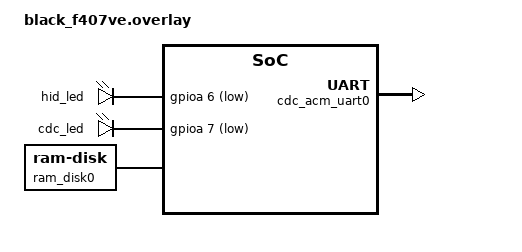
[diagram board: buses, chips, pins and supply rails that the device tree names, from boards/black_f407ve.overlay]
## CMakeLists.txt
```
# SPDX-License-Identifier: Apache-2.0

cmake_minimum_required(VERSION 3.20.0)
find_package(Zephyr REQUIRED HINTS $ENV{ZEPHYR_BASE})
project(daplink)

include(${ZEPHYR_BASE}/samples/subsys/usb/common/common.cmake)

FILE(GLOB app_sources src/*.c src/flash_algo/*.c)
target_include_directories(app PRIVATE src/flash_algo src)

# Flash algorithm vendor files (conditionally compiled via Kconfig)
if(CONFIG_DAPLINK_FLASH_ALGO_STM32)
  list(APPEND app_sources ${CMAKE_CURRENT_SOURCE_DIR}/src/flash_algo/vendor_stm32.c)
endif()
if(CONFIG_DAPLINK_FLASH_ALGO_FREESCALE)
  list(APPEND app_sources ${CMAKE_CURRENT_SOURCE_DIR}/src/flash_algo/vendor_freescale.c)
endif()
if(CONFIG_DAPLINK_FLASH_ALGO_NXP)
  list(APPEND app_sources ${CMAKE_CURRENT_SOURCE_DIR}/src/flash_algo/vendor_nxp.c)
endif()
if(CONFIG_DAPLINK_FLASH_ALGO_MAXIM)
  list(APPEND app_sources ${CMAKE_CURRENT_SOURCE_DIR}/src/flash_algo/vendor_maxim.c)
endif()
if(CONFIG_DAPLINK_FLASH_ALGO_NUVOTON)
  list(APPEND app_sources ${CMAKE_CURRENT_SOURCE_DIR}/src/flash_algo/vendor_nuvoton.c)
endif()
if(CONFIG_DAPLINK_FLASH_ALGO_NORDIC)
  list(APPEND app_sources ${CMAKE_CURRENT_SOURCE_DIR}/src/flash_algo/vendor_nordic.c)
endif()
if(CONFIG_DAPLINK_FLASH_ALGO_ARM)
  list(APPEND app_sources ${CMAKE_CURRENT_SOURCE_DIR}/src/flash_algo/vendor_arm.c)
endif()
if(CONFIG_DAPLINK_FLASH_ALGO_REALTEK)
  list(APPEND app_sources ${CMAKE_CURRENT_SOURCE_DIR}/src/flash_algo/vendor_realtek.c)
endif()
if(CONFIG_DAPLINK_FLASH_ALGO_AMBIQ)
  list(APPEND app_sources ${CMAKE_CURRENT_SOURCE_DIR}/src/flash_algo/vendor_ambiq.c)
endif()

# Remove BULK v2 class for low-RAM boards
if(CONFIG_SOC_STM32F103X8)
  list(REMOVE_ITEM app_sources ${CMAKE_CURRENT_SOURCE_DIR}/src/usbd_dap_v2.c)
  list(REMOVE_ITEM app_sources ${CMAKE_CURRENT_SOURCE_DIR}/src/msc_lun.c)
  list(REMOVE_ITEM app_sources ${CMAKE_CURRENT_SOURCE_DIR}/src/msc_daplink.c)
  list(REMOVE_ITEM app_sources ${CMAKE_CURRENT_SOURCE_DIR}/src/flash_prog.c)
  list(REMOVE_ITEM app_sources ${CMAKE_CURRENT_SOURCE_DIR}/src/intelhex.c)
endif()

target_sources(app PRIVATE ${app_sources})
```

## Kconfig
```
source "samples/subsys/usb/common/Kconfig.sample_usbd"

source "Kconfig.zephyr"

config DAPLINK_PACKET_SIZE
	int "CMSIS-DAP packet size"
	default 64
	range 64 32768

config DAPLINK_PACKET_COUNT
	int "CMSIS-DAP packet count"
	default 4
	range 1 255

config DAPLINK_SWD
	bool "SWD support"
	default y

config DAPLINK_JTAG
	bool "JTAG support"
	default y

config DAPLINK_SWO_UART
	bool "SWO UART support"
	default n

config DAPLINK_SWO_MANCHESTER
	bool "SWO Manchester support"
	default n

config DAPLINK_TIMESTAMP_CLOCK
	int "Timestamp clock frequency (Hz)"
	default 0

config DAPLINK_UART_RX_BUF_SIZE
	int "UART RX buffer size"
	default 1024

config DAPLINK_UART_TX_BUF_SIZE
	int "UART TX buffer size"
	default 1024

menuconfig DAPLINK_FLASH_ALGO
	bool "Flash algorithm targets"
	default y if !SOC_STM32F103X8
	help
	  Select target flash algorithms to include.

if DAPLINK_FLASH_ALGO

config DAPLINK_FLASH_ALGO_STM32
	bool "STM32 targets"
	default y
	help
	  Include flash algorithms for STM32 targets (F0/F1/F2/F3/F4/F7/L0/L4).

config DAPLINK_FLASH_ALGO_FREESCALE
	bool "Freescale/NXP Kinetis targets"
	default y
	help
	  Include flash algorithms for Kinetis K/L/KW/KE/KV series.

config DAPLINK_FLASH_ALGO_NXP
	bool "NXP LPC/i.MX targets"
	default y
	help
	  Include flash algorithms for LPC11U/LPC43/LPC55/i.MX RT series.

config DAPLINK_FLASH_ALGO_MAXIM
	bool "Maxim targets"
	default y
	help
	  Include flash algorithms for MAX32/MAX78 series.

config DAPLINK_FLASH_ALGO_NUVOTON
	bool "Nuvoton targets"
	default y
	help
	  Include flash algorithms for NuMicro M48/M2 series.

config DAPLINK_FLASH_ALGO_NORDIC
	bool "Nordic targets"
	default y
	help
	  Include flash algorithms for nRF51/nRF52 series.

config DAPLINK_FLASH_ALGO_RENESAS
	bool "Renesas targets"
	default y
	help
	  Include flash algorithms for RA series.

config DAPLINK_FLASH_ALGO_ARM
	bool "ARM reference targets"
	default y
	help
	  Include flash algorithms for ARM Musca reference designs.

config DAPLINK_FLASH_ALGO_REALTEK
	bool "Realtek targets"
	default y

config DAPLINK_FLASH_ALGO_AMBIQ
	bool "Ambiq targets"
	default y

endif
```

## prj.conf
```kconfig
# USB Device Stack
CONFIG_USB_DEVICE_STACK_NEXT=y

# USB HID class for CMSIS-DAP v1
CONFIG_USBD_HID_SUPPORT=y
CONFIG_USBD_HID_IN_BUF_COUNT=4
CONFIG_USBD_HID_OUT_BUF_COUNT=4

# USB CDC ACM for virtual COM port
CONFIG_USBD_CDC_ACM_CLASS=y

# USB MSC for drag-n-drop flashing
CONFIG_USBD_MSC_CLASS=y
CONFIG_USBD_MSC_LUNS_PER_INSTANCE=1
CONFIG_USBD_MSC_SCSI_BUFFER_SIZE=512
CONFIG_USBD_MSC_DOUBLE_BUFFERING=y
CONFIG_USBD_MSC_INSTANCES_COUNT=1

# RAM disk for MSC backend
CONFIG_DISK_DRIVER_RAM=y
CONFIG_CDC_ACM_SERIAL_INITIALIZE_AT_BOOT=n

# UART for target communication
CONFIG_SERIAL=y
CONFIG_UART_LINE_CTRL=y
CONFIG_UART_USE_RUNTIME_CONFIGURE=y

# UART bridge driver (CDC ACM <-> target UART)
CONFIG_UART_BRIDGE=y
CONFIG_UART_BRIDGE_BUF_SIZE=256

# GPIO for SWJ debug pins and LEDs
CONFIG_GPIO=y

# Kernel
CONFIG_MAIN_STACK_SIZE=4096
CONFIG_SYSTEM_WORKQUEUE_STACK_SIZE=2048

# Logging
CONFIG_LOG=y
CONFIG_LOG_DEFAULT_LEVEL=3
CONFIG_USBD_LOG_LEVEL_ERR=y
CONFIG_UDC_DRIVER_LOG_LEVEL_ERR=y
CONFIG_USBD_HID_LOG_LEVEL_WRN=y
CONFIG_USBD_CDC_ACM_LOG_LEVEL_OFF=y

# USB identification (via sample_usbd)
CONFIG_SAMPLE_USBD_VID=0x0D28
CONFIG_SAMPLE_USBD_PID=0x0204
CONFIG_SAMPLE_USBD_MANUFACTURER="ARM"
CONFIG_SAMPLE_USBD_PRODUCT="CMSIS-DAP v1/v2"
CONFIG_SAMPLE_USBD_SELF_POWERED=y
CONFIG_SAMPLE_USBD_MAX_POWER=125

# Libraries
CONFIG_HEAP_MEM_POOL_SIZE=4096
CONFIG_PRINTK=y
```

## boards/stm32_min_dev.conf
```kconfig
# stm32_min_dev (STM32F103C8) — 64KB flash, 20KB RAM
# Minimal DAPLink: CMSIS-DAP v1 (HID) + CDC ACM only
# No MSC, no BULK v2, no drag-n-drop flash

CONFIG_LOG=y

CONFIG_MAIN_STACK_SIZE=1536
CONFIG_SYSTEM_WORKQUEUE_STACK_SIZE=1024

CONFIG_USBD_MSC_CLASS=n
CONFIG_DISK_DRIVER_RAM=n

CONFIG_I2C=n
CONFIG_SPI=n
CONFIG_PWM=n
CONFIG_COUNTER=n
CONFIG_ADC=n
CONFIG_CAN=n
CONFIG_WATCHDOG=n
CONFIG_HWINFO=n

CONFIG_HEAP_MEM_POOL_SIZE=0

CONFIG_USBD_HID_IN_BUF_COUNT=1
CONFIG_USBD_HID_OUT_BUF_COUNT=1
CONFIG_DAPLINK_PACKET_COUNT=2

CONFIG_USBD_LOG_LEVEL_OFF=y
CONFIG_UDC_DRIVER_LOG_LEVEL_OFF=y
CONFIG_USBD_HID_LOG_LEVEL_OFF=y
CONFIG_USBD_CDC_ACM_LOG_LEVEL_OFF=y
```

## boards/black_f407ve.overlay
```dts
&zephyr_udc0 {
	hid_dev0: hid_dev0 {
		compatible = "zephyr,hid-device";
		in-report-size = <64>;
		in-polling-period-us = <1000>;
		out-report-size = <64>;
		out-polling-period-us = <1000>;
	};

	cdc_acm_uart0: cdc_acm_uart0 {
		compatible = "zephyr,cdc-acm-uart";
	};
};

/ {
	aliases {
		swclk = &swclk_pin;
		swdio = &swdio_pin;
		nrst = &nrst_pin;
		hid-led = &hid_led;
		cdc-led = &cdc_led;
	};

	swj_pins: swj_pins {
		swclk_pin: swclk_pin {
			gpios = <&gpiob 13 GPIO_ACTIVE_HIGH>;
		};
		swdio_pin: swdio_pin {
			gpios = <&gpiob 14 GPIO_ACTIVE_HIGH>;
		};
		nrst_pin: nrst_pin {
			gpios = <&gpiob 12 GPIO_ACTIVE_HIGH>;
		};
	};

	leds {
		compatible = "gpio-leds";
		hid_led: hid_led {
			gpios = <&gpioa 6 GPIO_ACTIVE_LOW>;
		};
		cdc_led: cdc_led {
			gpios = <&gpioa 7 GPIO_ACTIVE_LOW>;
		};
	};

	uart-bridge0 {
		compatible = "zephyr,uart-bridge";
		peers = <&cdc_acm_uart0 &usart2>;
	};

	ram_disk0: ram_disk0 {
		compatible = "zephyr,ram-disk";
		disk-name = "DAPLINK";
		sector-size = <512>;
		sector-count = <64>;
	};
};
```

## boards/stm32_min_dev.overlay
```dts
&zephyr_udc0 {
	hid_dev0: hid_dev0 {
		compatible = "zephyr,hid-device";
		in-report-size = <64>;
		in-polling-period-us = <1000>;
		out-report-size = <64>;
		out-polling-period-us = <1000>;
	};

	cdc_acm_uart0: cdc_acm_uart0 {
		compatible = "zephyr,cdc-acm-uart";
	};
};

/ {
	aliases {
		swclk = &swclk_pin;
		swdio = &swdio_pin;
		nrst = &nrst_pin;
		hid-led = &hid_led;
	};

	swj_pins: swj_pins {
		swclk_pin: swclk_pin {
			gpios = <&gpiob 0 GPIO_ACTIVE_HIGH>;
		};
		swdio_pin: swdio_pin {
			gpios = <&gpiob 1 GPIO_ACTIVE_HIGH>;
		};
		nrst_pin: nrst_pin {
			gpios = <&gpiob 2 GPIO_ACTIVE_HIGH>;
		};
	};

	uart-bridge0 {
		compatible = "zephyr,uart-bridge";
		peers = <&cdc_acm_uart0 &usart2>;
	};

	leds {
		compatible = "gpio-leds";
		hid_led: hid_led {
			gpios = <&gpiob 12 GPIO_ACTIVE_HIGH>;
		};
	};

};
```

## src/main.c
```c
#include <zephyr/kernel.h>
#include <zephyr/device.h>
#include <zephyr/drivers/gpio.h>
#include <zephyr/drivers/uart/uart_bridge.h>
#include <zephyr/usb/usbd.h>
#include <zephyr/usb/class/usbd_hid.h>
#include <zephyr/logging/log.h>
#include <sample_usbd.h>
#include "DAP.h"
#include "IO_Config.h"
#include "usbd_user.h"

LOG_MODULE_REGISTER(daplink, LOG_LEVEL_INF);

static struct usbd_context *sample_usbd;

#define HID_LED_NODE DT_ALIAS(hid_led)
#define CDC_LED_NODE DT_ALIAS(cdc_led)

#define DEVICE_DT_GET_COMMA(node_id) DEVICE_DT_GET(node_id)

static const struct device *uart_bridges[] = {
	DT_FOREACH_STATUS_OKAY(zephyr_uart_bridge, DEVICE_DT_GET_COMMA)
};

#if DT_NODE_EXISTS(HID_LED_NODE)
static const struct gpio_dt_spec hid_led = GPIO_DT_SPEC_GET(HID_LED_NODE, gpios);
#endif
#if defined(CDC_LED_NODE) && DT_NODE_EXISTS(CDC_LED_NODE)
static const struct gpio_dt_spec cdc_led = GPIO_DT_SPEC_GET(CDC_LED_NODE, gpios);
#endif

static volatile bool hid_activity;
static volatile bool cdc_activity;
static int64_t activity_tick;

enum usb_state {
    USB_DISCONNECTED,
    USB_CONNECTED,
};
static enum usb_state usb_state = USB_DISCONNECTED;

static struct k_timer daplink_timer;
static struct k_sem daplink_sem;

void main_blink_hid_led(void)
{
    hid_activity = true;
    activity_tick = k_uptime_get();
}

#if defined(CDC_LED_NODE) && DT_NODE_EXISTS(CDC_LED_NODE)
__attribute__((weak)) void main_blink_cdc_led(void)
{
    cdc_activity = true;
    activity_tick = k_uptime_get();
}
#endif

static void led_write(const struct gpio_dt_spec *led, bool on)
{
    if (led->port) gpio_pin_set_dt(led, on);
}

static void handle_leds(void)
{
    int64_t now = k_uptime_get();
    if (hid_activity && (now - activity_tick) > 250) {
        hid_activity = false;
    }
#if defined(CDC_LED_NODE) && DT_NODE_EXISTS(CDC_LED_NODE)
    if (cdc_activity && (now - activity_tick) > 250) {
        cdc_activity = false;
    }
    led_write(&cdc_led, cdc_activity);
#endif
    led_write(&hid_led, hid_activity);
}

__attribute__((weak)) void flash_prog_periodic(void) {}

static void timer_cb(struct k_timer *timer)
{
    k_sem_give(&daplink_sem);
}

static void msg_cb(struct usbd_context *const ctx, const struct usbd_msg *msg)
{
    if (usbd_can_detect_vbus(ctx)) {
        if (msg->type == USBD_MSG_VBUS_READY) {
            usbd_enable(ctx);
            usb_state = USB_CONNECTED;
        }
        if (msg->type == USBD_MSG_VBUS_REMOVED) {
            usbd_disable(ctx);
            usb_state = USB_DISCONNECTED;
        }
    }
    if (msg->type == USBD_MSG_CDC_ACM_LINE_CODING ||
        msg->type == USBD_MSG_CDC_ACM_CONTROL_LINE_STATE) {
        for (size_t i = 0; i < ARRAY_SIZE(uart_bridges); i++) {
            uart_bridge_settings_update(msg->dev, uart_bridges[i]);
        }
    }
}

static int enable_usb_device(void)
{
    sample_usbd = sample_usbd_init_device(msg_cb);
    if (sample_usbd == NULL) return -ENODEV;

    if (!usbd_can_detect_vbus(sample_usbd)) {
        int err = usbd_enable(sample_usbd);
        if (err) return err;
        usb_state = USB_CONNECTED;
    }
    return 0;
}

int main(void)
{
    LOG_INF("DAPLink CMSIS-DAP on Zephyr");

    swj_gpio_init();

    DAP_Setup();
    DAP_Data.debug_port = DAP_PORT_SWD;

#if DT_NODE_EXISTS(HID_LED_NODE)
    if (hid_led.port && device_is_ready(hid_led.port)) {
        gpio_pin_configure_dt(&hid_led, GPIO_OUTPUT_INACTIVE);
    }
#endif
#if DT_NODE_EXISTS(CDC_LED_NODE)
    if (cdc_led.port && device_is_ready(cdc_led.port)) {
        gpio_pin_configure_dt(&cdc_led, GPIO_OUTPUT_INACTIVE);
    }
#endif

    k_sem_init(&daplink_sem, 0, 1);
    k_timer_init(&daplink_timer, timer_cb, NULL);
    k_timer_start(&daplink_timer, K_MSEC(30), K_MSEC(30));

    int ret = enable_usb_device();
    if (ret) {
        LOG_ERR("USB failed: %d", ret);
        return 0;
    }

    ret = daplink_hid_init(sample_usbd);
    if (ret) LOG_ERR("HID failed: %d", ret);

    LOG_INF("DAPLink ready");

    uint32_t disk_check_tick = 0;

    while (1) {
        k_sem_take(&daplink_sem, K_FOREVER);
        handle_leds();

        uint32_t now = k_uptime_get_32();
        if (now - disk_check_tick > 2000) {
            disk_check_tick = now;
            flash_prog_periodic();
        }
    }
}
```

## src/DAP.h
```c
/*
 * Copyright (c) 2013-2021 ARM Limited. All rights reserved.
 * SPDX-License-Identifier: Apache-2.0
 *
 * CMSIS-DAP v2.1.0 Protocol Definitions
 * Adapted for Zephyr RTOS
 */

#ifndef __DAP_H__
#define __DAP_H__

#include <stdint.h>
#include <stdbool.h>

#ifdef __cplusplus
extern "C" {
#endif

/* DAP Firmware Version */
#ifdef  DAP_FW_V1
#define DAP_FW_VER                      "1.3.0"
#else
#define DAP_FW_VER                      "2.1.0"
#endif

/* DAP Command IDs */
#define ID_DAP_Info                     0x00U
#define ID_DAP_HostStatus               0x01U
#define ID_DAP_Connect                  0x02U
#define ID_DAP_Disconnect               0x03U
#define ID_DAP_TransferConfigure        0x04U
#define ID_DAP_Transfer                 0x05U
#define ID_DAP_TransferBlock            0x06U
#define ID_DAP_TransferAbort            0x07U
#define ID_DAP_WriteABORT               0x08U
#define ID_DAP_Delay                    0x09U
#define ID_DAP_ResetTarget              0x0AU
#define ID_DAP_SWJ_Pins                 0x10U
#define ID_DAP_SWJ_Clock                0x11U
#define ID_DAP_SWJ_Sequence             0x12U
#define ID_DAP_SWD_Configure            0x13U
#define ID_DAP_JTAG_Sequence            0x14U
#define ID_DAP_JTAG_Configure           0x15U
#define ID_DAP_JTAG_IDCODE              0x16U
#define ID_DAP_SWO_Transport            0x17U
#define ID_DAP_SWO_Mode                 0x18U
#define ID_DAP_SWO_Baudrate             0x19U
#define ID_DAP_SWO_Control              0x1AU
#define ID_DAP_SWO_Status               0x1BU
#define ID_DAP_SWO_Data                 0x1CU
#define ID_DAP_SWD_Sequence             0x1DU
#define ID_DAP_SWO_ExtendedStatus       0x1EU
#define ID_DAP_UART_Transport           0x1FU
#define ID_DAP_UART_Configure           0x20U
#define ID_DAP_UART_Control             0x22U
#define ID_DAP_UART_Status              0x21U

#define ID_DAP_Vendor0                  0x80U
#define ID_DAP_Vendor1                  0x81U
#define ID_DAP_Vendor2                  0x82U
#define ID_DAP_Vendor3                  0x83U
#define ID_DAP_Vendor4                  0x84U
#define ID_DAP_Vendor5                  0x85U
#define ID_DAP_Vendor6                  0x86U
#define ID_DAP_Vendor7                  0x87U
#define ID_DAP_Vendor8                  0x88U
#define ID_DAP_Vendor9                  0x89U
#define ID_DAP_Vendor10                 0x8AU
#define ID_DAP_Vendor11                 0x8BU
#define ID_DAP_Vendor12                 0x8CU
#define ID_DAP_Vendor13                 0x8DU
#define ID_DAP_Vendor14                 0x8EU
#define ID_DAP_Vendor15                 0x8FU
#define ID_DAP_Vendor16                 0x90U
#define ID_DAP_Vendor17                 0x91U
#define ID_DAP_Vendor18                 0x92U
#define ID_DAP_Vendor19                 0x93U
#define ID_DAP_Vendor20                 0x94U
#define ID_DAP_Vendor21                 0x95U
#define ID_DAP_Vendor22                 0x96U
#define ID_DAP_Vendor23                 0x97U
#define ID_DAP_Vendor24                 0x98U
#define ID_DAP_Vendor25                 0x99U
#define ID_DAP_Vendor26                 0x9AU
#define ID_DAP_Vendor27                 0x9BU
#define ID_DAP_Vendor28                 0x9CU
#define ID_DAP_Vendor29                 0x9DU
#define ID_DAP_Vendor30                 0x9EU
#define ID_DAP_Vendor31                 0x9FU

#define ID_DAP_VendorExFirst            0xA0U
#define ID_DAP_VendorExLast             0xFEU
#define ID_DAP_ExecuteCommands          0x7FU
#define ID_DAP_Invalid                  0xFFU

/* DAP Status Code */
#define DAP_OK                          0U
#define DAP_ERROR                       0xFFU

/* DAP ID */
#define DAP_ID_VENDOR                   1U
#define DAP_ID_PRODUCT                  2U
#define DAP_ID_SER_NUM                  3U
#define DAP_ID_DAP_FW_VER               4U
#define DAP_ID_DEVICE_VENDOR            5U
#define DAP_ID_DEVICE_NAME              6U
#define DAP_ID_BOARD_VENDOR             7U
#define DAP_ID_BOARD_NAME               8U
#define DAP_ID_PRODUCT_FW_VER           9U
#define DAP_ID_CAPABILITIES             0xF0U
#define DAP_ID_TIMESTAMP_CLOCK          0xF1U
#define DAP_ID_UART_RX_BUFFER_SIZE      0xFBU
#define DAP_ID_UART_TX_BUFFER_SIZE      0xFCU
#define DAP_ID_SWO_BUFFER_SIZE          0xFDU
#define DAP_ID_PACKET_COUNT             0xFEU
#define DAP_ID_PACKET_SIZE              0xFFU

/* DAP Host Status */
#define DAP_DEBUGGER_CONNECTED          0U
#define DAP_TARGET_RUNNING              1U

/* DAP Port */
#define DAP_PORT_AUTODETECT             0U
#define DAP_PORT_DISABLED               0U
#define DAP_PORT_SWD                    1U
#define DAP_PORT_JTAG                   2U

/* DAP SWJ */
#define DAP_SWJ_SWCLK_TCK               0U
#define DAP_SWJ_SWDIO_TMS               1U
#define DAP_SWJ_TDI                     2U
#define DAP_SWJ_TDO                     3U
#define DAP_SWJ_nTRST                   5U
#define DAP_SWJ_nRESET                  7U

/* DAP Transfer Request */
#define DAP_TRANSFER_APnDP              (1U<<0)
#define DAP_TRANSFER_RnW                (1U<<1)
#define DAP_TRANSFER_A2                 (1U<<2)
#define DAP_TRANSFER_A3                 (1U<<3)
#define DAP_TRANSFER_MATCH_VALUE        (1U<<4)
#define DAP_TRANSFER_MATCH_MASK         (1U<<5)
#define DAP_TRANSFER_TIMESTAMP          (1U<<7)

/* DAP Transfer Request (additional) */
#define DAP_TRANSFER_INVALID            0U

/* DAP Transfer Response */
#define DAP_TRANSFER_OK                 (1U<<0)
#define DAP_TRANSFER_WAIT               (1U<<1)
#define DAP_TRANSFER_FAULT              (1U<<2)
#define DAP_TRANSFER_ERROR              (1U<<3)
#define DAP_TRANSFER_MISMATCH           (1U<<4)

/* DAP SWO Trace */
#define DAP_SWO_OFF                     0U
#define DAP_SWO_UART                    1U
#define DAP_SWO_MANCHESTER              2U

#define DAP_SWO_CAPTURE_ACTIVE          (1U<<0)
#define DAP_SWO_CAPTURE_PAUSED          (1U<<1)
#define DAP_SWO_STREAM_ERROR            (1U<<6)
#define DAP_SWO_BUFFER_OVERRUN          (1U<<7)

/* DAP UART */
#define DAP_UART_TRANSPORT_NONE         0U
#define DAP_UART_TRANSPORT_USB_COM_PORT 1U
#define DAP_UART_TRANSPORT_DAP_COMMAND  2U

#define DAP_UART_CONTROL_RX_ENABLE      (1U<<0)
#define DAP_UART_CONTROL_RX_DISABLE     (1U<<1)
#define DAP_UART_CONTROL_RX_BUF_FLUSH   (1U<<2)
#define DAP_UART_CONTROL_TX_ENABLE      (1U<<4)
#define DAP_UART_CONTROL_TX_DISABLE     (1U<<5)
#define DAP_UART_CONTROL_TX_BUF_FLUSH   (1U<<6)

#define DAP_UART_STATUS_RX_ENABLED      (1U<<0)
#define DAP_UART_STATUS_RX_DATA_LOST    (1U<<1)
#define DAP_UART_STATUS_FRAMING_ERROR   (1U<<2)
#define DAP_UART_STATUS_PARITY_ERROR    (1U<<3)
#define DAP_UART_STATUS_TX_ENABLED      (1U<<4)

#define DAP_UART_CFG_ERROR_DATA_BITS    (1U<<0)
#define DAP_UART_CFG_ERROR_PARITY       (1U<<1)
#define DAP_UART_CFG_ERROR_STOP_BITS    (1U<<2)

#define DAP_UART_CONFIG_BAUD_RATE       0U
#define DAP_UART_CONFIG_LINE_CODING     1U
#define DAP_UART_CONFIG_LINE_STATE      2U

#define DAP_UART_CTRL_ENABLE            1U
#define DAP_UART_CTRL_CONNECT           2U

#define DAP_UART_STREAM_READY           1U
#define DAP_UART_RX_BUF_EMPTY           2U
#define DAP_UART_TX_BUF_EMPTY           4U

/* Debug Port Register Addresses */
#define DP_IDCODE                       0x00U
#define DP_ABORT                        0x00U
#define DP_CTRL_STAT                    0x04U
#define DP_WCR                          0x04U
#define DP_SELECT                       0x08U
#define DP_RESEND                       0x08U
#define DP_RDBUFF                       0x0CU

/* APCSR (AP Control and Status) */
#define AP_CSR                          0x00U
#define AP_TAR                          0x04U
#define AP_DRW                          0x0CU
#define AP_BD0                          0x10U
#define AP_BD1                          0x14U
#define AP_BD2                          0x18U
#define AP_BD3                          0x1CU
#define AP_CFG                          0xF4U
#define AP_BASE                         0xF8U
#define AP_IDR                          0xFCU

/* JTAG IR Codes */
#define JTAG_ABORT                      0x08U
#define JTAG_DPACC                      0x0AU
#define JTAG_APACC                      0x0BU
#define JTAG_IDCODE                     0x0EU
#define JTAG_BYPASS                     0x0FU

/* JTAG Sequence Info */
#define JTAG_SEQUENCE_TCK               0x3FU
#define JTAG_SEQUENCE_TMS               0x40U
#define JTAG_SEQUENCE_TDO               0x80U

/* SWD Sequence Info */
#define SWD_SEQUENCE_CLK                0x3FU
#define SWD_SEQUENCE_DIN                0x80U

/* DAP Data structure */
typedef struct {
    uint8_t     debug_port;             /* Debug Port */
    uint8_t     fast_clock;             /* Fast Clock Flag */
    uint8_t     padding[2];
    uint32_t    clock_delay;            /* Clock Delay */
    uint32_t    nominal_clock;          /* Nominal clock freq in Hz */
    uint32_t    timestamp;              /* Last captured Timestamp */
    struct {
        uint8_t   idle_cycles;          /* Idle cycles after transfer */
        uint8_t   padding[3];
        uint16_t  retry_count;          /* Retries after WAIT */
        uint16_t  match_retry;          /* Retries on value mismatch */
        uint32_t  match_mask;
    } transfer;
#if (DAP_SWD != 0)
    struct {
        uint8_t   turnaround;           /* Turnaround period */
        uint8_t   data_phase;           /* Always generate Data Phase */
    } swd_conf;
#endif
#if (DAP_JTAG != 0)
    struct {
        uint8_t   count;                /* Number of devices */
        uint8_t   index;                /* Device index */
#if (DAP_JTAG_DEV_CNT != 0)
        uint8_t   ir_length[DAP_JTAG_DEV_CNT];
        uint16_t  ir_before[DAP_JTAG_DEV_CNT];
        uint16_t  ir_after[DAP_JTAG_DEV_CNT];
#endif
    } jtag_dev;
#endif
} DAP_Data_t;

/* Global DAP Data */
extern DAP_Data_t DAP_Data;
extern volatile uint8_t DAP_TransferAbort;

/* DAP Functions */
void     DAP_Setup(void);
uint32_t DAP_ProcessCommand(const uint8_t *request, uint8_t *response);
uint32_t DAP_ExecuteCommand(const uint8_t *request, uint8_t *response);

/* SWJ Functions */
void     SWJ_Sequence(uint32_t count, const uint8_t *data);

/* SWD Functions */
void     SWD_Sequence(uint32_t info, const uint8_t *swdo, uint8_t *swdi);
uint8_t  SWD_Transfer(uint32_t request, uint32_t *data);
uint8_t  SWD_TransferCheck(uint32_t request, uint32_t *data);

/* JTAG Functions */
void     JTAG_Sequence(uint32_t info, const uint8_t *tdi, uint8_t *tdo);
uint8_t  JTAG_Transfer(uint32_t request, uint32_t *data);
uint8_t  JTAG_WriteIR(uint32_t request, uint32_t *data);
uint8_t  JTAG_IRScan(uint8_t dev_index, uint8_t *ir_data, uint8_t ir_length);

/* SWO Functions */
#if (SWO_UART != 0)
void     SWO_UART_Init(uint32_t baudrate);
void     SWO_UART_Uninit(void);
uint32_t SWO_UART_GetBaudrate(void);
void     SWO_UART_Control(uint32_t control);
#endif
#if (SWO_MANCHESTER != 0)
void     SWO_Manchester_Init(uint32_t baudrate);
void     SWO_Manchester_Uninit(void);
uint32_t SWO_Manchester_GetBaudrate(void);
void     SWO_Manchester_Control(uint32_t control);
#endif

/* DAP UART Functions */
void     DAP_UART_Init(void);
void     DAP_UART_Uninit(void);
uint8_t  DAP_UART_Connect(void);
uint8_t  DAP_UART_Disconnect(void);
uint8_t  DAP_UART_Transport(uint8_t transport);
uint8_t  DAP_UART_Configure(uint32_t baudrate);
uint8_t  DAP_UART_Control(uint8_t control);
uint8_t  DAP_UART_Status(void);
uint16_t DAP_UART_Read(uint8_t *buf);
uint16_t DAP_UART_Write(const uint8_t *buf);
uint8_t  DAP_UART_GetTransport(void);

/* DAP Vendor Functions */
uint32_t DAP_ProcessVendorCommand(const uint8_t *request, uint8_t *response);
uint32_t DAP_ProcessVendorCommandEx(const uint8_t *request, uint8_t *response);

/* DAP String Functions */
uint8_t  DAP_GetVendorString(char *str);
uint8_t  DAP_GetProductString(char *str);
uint8_t  DAP_GetSerNumString(char *str);
uint8_t  DAP_GetTargetDeviceVendorString(char *str);
uint8_t  DAP_GetTargetDeviceNameString(char *str);
uint8_t  DAP_GetBoardVendorString(char *str);
uint8_t  DAP_GetBoardNameString(char *str);
uint8_t  DAP_GetProductFirmwareVersionString(char *str);

/* DAP Queue Functions */
void     DAP_queue_init(void);
int      DAP_queue_send_buf(uint8_t *buf, int len);

#ifdef __cplusplus
}
#endif

#endif /* __DAP_H__ */
```

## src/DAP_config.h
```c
/**
 * @file    DAP_config.h
 * @brief   CMSIS-DAP Configuration File for Zephyr
 *
 * DAPLink Interface Firmware
 * Copyright (c) 2013-2021 ARM Limited. All rights reserved.
 * SPDX-License-Identifier: Apache-2.0
 *
 * Ported to Zephyr RTOS
 */

#ifndef __DAP_CONFIG_H__
#define __DAP_CONFIG_H__

#include <zephyr/kernel.h>
#include <zephyr/sys/__assert.h>
#include "IO_Config.h"

#ifdef __cplusplus
extern "C" {
#endif

/*==============================================================================
 *      Processor Clock
 *============================================================================*/
/** Specifies the CPU Clock in Hz for SWD/JTAG clock calculation.
 *  Uses Zephyr's SYS_CLOCK_HW_CYCLES_PER_SEC which is board-independent.
 */
#define CPU_CLOCK               CONFIG_SYS_CLOCK_HW_CYCLES_PER_SEC

/** Number of processor cycles for I/O Port write operations. */
#define IO_PORT_WRITE_CYCLES    2U

/*==============================================================================
 *      CMSIS-DAP Debug Unit Communication Packet Size
 *============================================================================*/
/** Maximum packet size for the debug unit. */
#ifndef DAP_PACKET_SIZE
#define DAP_PACKET_SIZE         64U
#endif

/** Maximum packet count for the debug unit. */
#ifndef DAP_PACKET_COUNT
#define DAP_PACKET_COUNT        4U
#endif

/*==============================================================================
 *      CMSIS-DAP Debug Unit Supported Ports
 *============================================================================*/
/** Support SWD mode. */
#ifndef DAP_SWD
#define DAP_SWD                 1
#endif

/** Support JTAG mode. */
#ifndef DAP_JTAG
#define DAP_JTAG                0
#endif

/** Number of JTAG devices in chain. */
#ifndef DAP_JTAG_DEV_CNT
#define DAP_JTAG_DEV_CNT        0
#endif

/** Support SWO UART mode. */
#ifndef SWO_UART
#define SWO_UART                0
#endif

/** Support SWO Manchester mode. */
#ifndef SWO_MANCHESTER
#define SWO_MANCHESTER          0
#endif

/** Activate timestamp clock. */
#ifndef TIMESTAMP_CLOCK
#define TIMESTAMP_CLOCK         0U
#endif

/*==============================================================================
 *      CMSIS-DAP Debug Unit Information
 *============================================================================*/
/** Vendor name. */
#define DAP_VENDOR_NAME          "ARM"

/** Product name. */
#define DAP_PRODUCT_NAME         "CMSIS-DAP v1/v2 (Zephyr)"

/** Serial number. */
#define DAP_SER_NUM              "123456"

/** Firmware version string. */
#ifdef DAP_FW_V1
#define DAP_FW_VER               "1.3.0"
#else
#define DAP_FW_VER               "2.1.0"
#endif

/** Target device vendor (optional). */
#define DAP_DEVICE_VENDOR        ""

/** Target device name (optional). */
#define DAP_DEVICE_NAME          ""

/** Board vendor (optional). */
#define DAP_BOARD_VENDOR         "Zephyr Project"

/** Board name (optional). */
#define DAP_BOARD_NAME           "DAPLink on Zephyr"

/*==============================================================================
 *      CMSIS-DAP Protocol Configuration
 *============================================================================*/
/** Number of SWD transfers that can be batched. */
#define DAP_TRANSFER_BUFFER_SIZE 1024U

/** Maximum number of SWD/JTAG retries. */
#define DAP_TRANSFER_RETRIES     100U

/** Default SWD/JTAG clock frequency in Hz. */
#define DAP_DEFAULT_SWJ_CLOCK    1000000U

/*==============================================================================
 *      Pin IO Macros (mapped to IO_Config.h functions)
 *============================================================================*/

/* SWCLK / TCK */
#define PIN_SWCLK_TCK_SET()             swclk_tck_set()
#define PIN_SWCLK_TCK_CLR()             swclk_tck_clr()
#define PIN_SWCLK_TCK_IN()              swclk_tck_in()

/* SWDIO / TMS */
#define PIN_SWDIO_TMS_SET()             swdio_tms_set()
#define PIN_SWDIO_TMS_CLR()             swdio_tms_clr()
#define PIN_SWDIO_TMS_IN()              swdio_tms_in()
#define PIN_SWDIO_OUT(bit)              swdio_tms_out(bit)
#define PIN_SWDIO_IN()                  swdio_tms_in()
#define PIN_SWDIO_OUT_ENABLE()          swdio_out_enable()
#define PIN_SWDIO_OUT_DISABLE()         swdio_out_disable()

/* TDI */
#define PIN_TDI_OUT(bit)                tdi_out(bit)
#define PIN_TDI_IN()                    tdi_in()

/* TDO */
#define PIN_TDO_IN()                    tdo_in()

/* nTRST */
#define PIN_nTRST_OUT(bit)              ntrst_out(bit)
#define PIN_nTRST_IN()                  ntrst_in()

/* nRESET */
#define PIN_nRESET_OUT(bit)             nreset_out(bit)
#define PIN_nRESET_IN()                 nreset_in()

/*==============================================================================
 *      SWO Pin Macros
 *============================================================================*/
#if (SWO_UART != 0)
#define SWO_UART_IN()                   swo_uart_in()
#define SWO_UART_OUT(bit)               swo_uart_out(bit)
#endif

#if (SWO_MANCHESTER != 0)
#define SWO_MANCHESTER_IN()             swo_manchester_in()
#define SWO_MANCHESTER_OUT(bit)         swo_manchester_out(bit)
#endif

/*==============================================================================
 *      Timing and Delay Macros
 *============================================================================*/

/* Number of CPU cycles for a I/O port write */
#if defined(IO_PORT_WRITE_CYCLES)
#define IO_PORT_WRITE_CYCLES_CORRECTED  IO_PORT_WRITE_CYCLES
#else
#define IO_PORT_WRITE_CYCLES_CORRECTED  2U
#endif

/* Calculate delay for a given SWJ clock frequency */
#define DAP_CLOCK_DELAY(clock_hz)       ((CPU_CLOCK / clock_hz) / (2U * IO_PORT_WRITE_CYCLES_CORRECTED))

/**
 * \brief Slow delay for SWJ pin IO.
 * \param delay_cycles Number of clock cycles to delay.
 */
#if defined(__GNUC__)
static inline void PIN_DELAY_SLOW(uint32_t delay_cycles) {
    if (delay_cycles == 0U) return;
    uint32_t cycles = (delay_cycles * IO_PORT_WRITE_CYCLES_CORRECTED) / 2U;
    if (cycles > 0U) {
        __asm__ volatile (
            "1: subs %0, %0, #1 \n"
            "   bne 1b \n"
            : "+r" (cycles)
            :
            : "cc"
        );
    }
}
#else
static inline void PIN_DELAY_SLOW(uint32_t delay_cycles) {
    volatile uint32_t d = delay_cycles;
    while (d--);
}
#endif

/** Fast delay for SWJ pin IO (single cycle). */
#define PIN_DELAY_FAST()                ((void)0)

/*==============================================================================
 *      Timestamp
 *============================================================================*/
#if (TIMESTAMP_CLOCK != 0U)
extern uint32_t timestamp_clk_freq;
#define TIMESTAMP_CLK_FREQ              timestamp_clk_freq

/* Get timestamp value */
extern uint32_t TIMESTAMP_GET(void);
#else
#define TIMESTAMP_CLK_FREQ              0U
#define TIMESTAMP_GET()                 0U
#endif

/*==============================================================================
 *      UART for CDC ACM bridge
 *============================================================================*/
/** UART receive buffer size */
#ifndef DAP_UART_RX_BUF_SIZE
#define DAP_UART_RX_BUF_SIZE            1024U
#endif

/** UART transmit buffer size */
#ifndef DAP_UART_TX_BUF_SIZE
#define DAP_UART_TX_BUF_SIZE            1024U
#endif

#ifdef __cplusplus
}
#endif

#endif /* __DAP_CONFIG_H__ */
```

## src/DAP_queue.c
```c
#include "DAP_queue.h"
#include "DAP_config.h"
#include <string.h>

#define DAP_QUEUE_ELEMENT_SIZE (DAP_PACKET_SIZE + 4)
#define DAP_QUEUE_ELEMENT_COUNT DAP_PACKET_COUNT

static uint8_t queue_buffer[DAP_QUEUE_ELEMENT_SIZE * DAP_QUEUE_ELEMENT_COUNT];
static uint8_t queue_element_len[DAP_QUEUE_ELEMENT_COUNT];
static int qhead, qtail;

void DAP_queue_init(void)
{
    qhead = 0;
    qtail = 0;
}

int DAP_queue_send_buf(uint8_t *buf, int len)
{
    int next = (qhead + 1) % DAP_QUEUE_ELEMENT_COUNT;
    if (next == qtail) {
        return 0;
    }
    memcpy(&queue_buffer[qhead * DAP_QUEUE_ELEMENT_SIZE], buf, len);
    queue_element_len[qhead] = len;
    qhead = next;
    return 1;
}

int DAP_queue_get_buf(uint8_t **buf, int *len)
{
    if (qhead == qtail) {
        return 0;
    }
    *buf = &queue_buffer[qtail * DAP_QUEUE_ELEMENT_SIZE];
    *len = queue_element_len[qtail];
    qtail = (qtail + 1) % DAP_QUEUE_ELEMENT_COUNT;
    return 1;
}
```

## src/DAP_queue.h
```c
#ifndef DAP_QUEUE_H
#define DAP_QUEUE_H

#include <stdint.h>

void DAP_queue_init(void);
int  DAP_queue_send_buf(uint8_t *buf, int len);
int  DAP_queue_get_buf(uint8_t **buf, int *len);

#endif
```

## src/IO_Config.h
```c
/**
 * @file    IO_Config.h
 * @brief   CMSIS-DAP GPIO Pin Configuration for Zephyr
 *
 * DAPLink Interface Firmware
 * Copyright (c) 2009-2016, ARM Limited, All Rights Reserved
 * SPDX-License-Identifier: Apache-2.0
 *
 * Ported to Zephyr RTOS
 */

#ifndef __IO_CONFIG_H__
#define __IO_CONFIG_H__

#include <zephyr/kernel.h>
#include <zephyr/device.h>
#include <zephyr/drivers/gpio.h>
#include <stdint.h>

#ifdef __cplusplus
extern "C" {
#endif

/*==============================================================================
 * SWJ Debug Port Pin Mapping
 *
 * These must be configured for your specific board.
 * Either define them here or via devicetree.
 *============================================================================*/

/* Default pin configuration - override for your board */
/* Format: PORT, PIN */
#ifndef SWCLK_TCK_SPEC
#define SWCLK_TCK_SPEC  GPIO_DT_SPEC_GET(DT_ALIAS(swclk), gpios)
#endif

#ifndef SWDIO_TMS_SPEC
#define SWDIO_TMS_SPEC  GPIO_DT_SPEC_GET(DT_ALIAS(swdio), gpios)
#endif

#ifndef NRST_SPEC
#define NRST_SPEC       GPIO_DT_SPEC_GET(DT_ALIAS(nrst), gpios)
#endif

/* Initialize debug port pins */
void swj_gpio_init(void);

/* SWCLK/TCK pin control */
void swclk_tck_set(void);
void swclk_tck_clr(void);
uint8_t swclk_tck_in(void);

/* SWDIO/TMS pin control */
void swdio_tms_set(void);
void swdio_tms_clr(void);
void swdio_tms_out(uint8_t bit);
uint8_t swdio_tms_in(void);
void swdio_out_enable(void);
void swdio_out_disable(void);

/* TDI pin control (JTAG) */
void tdi_out(uint8_t bit);
uint8_t tdi_in(void);

/* TDO pin control (JTAG) */
uint8_t tdo_in(void);

/* nTRST pin control (JTAG) */
void ntrst_out(uint8_t bit);
uint8_t ntrst_in(void);

/* nRESET pin control */
void nreset_out(uint8_t bit);
uint8_t nreset_in(void);

#ifdef __cplusplus
}
#endif

#endif /* __IO_CONFIG_H__ */
```

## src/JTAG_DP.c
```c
#include "DAP_config.h"
#include "DAP.h"

#if (DAP_JTAG != 0)

#define JTAG_CLOCK_CYCLE()              \
  PIN_SWCLK_TCK_CLR();                  \
  PIN_DELAY_SLOW(DAP_Data.clock_delay_jtag); \
  PIN_SWCLK_TCK_SET();                  \
  PIN_DELAY_SLOW(DAP_Data.clock_delay_jtag)

#define JTAG_TMS_WRITE(bit)             \
  PIN_SWDIO_TMS_SET();                  \
  PIN_SWDIO_OUT(bit);                   \
  JTAG_CLOCK_CYCLE()

#define JTAG_TDO_CAPTURE(bit)           \
  PIN_SWCLK_TCK_CLR();                  \
  PIN_DELAY_SLOW(DAP_Data.clock_delay_jtag); \
  bit = PIN_TDO_IN();                   \
  PIN_SWCLK_TCK_SET();                  \
  PIN_DELAY_SLOW(DAP_Data.clock_delay_jtag)

#define JTAG_TDI_TDO_WRITE(tdi, tdo)    \
  PIN_TDI_OUT(tdi);                     \
  PIN_SWCLK_TCK_CLR();                  \
  PIN_DELAY_SLOW(DAP_Data.clock_delay_jtag); \
  tdo = PIN_TDO_IN();                   \
  PIN_SWCLK_TCK_SET();                  \
  PIN_DELAY_SLOW(DAP_Data.clock_delay_jtag)

void JTAG_Sequence(uint32_t sequence_info, const uint8_t *request, uint8_t *response)
{
    uint32_t count;
    uint32_t tms;
    uint32_t val;
    uint32_t n;

    count = sequence_info & 0xFFU;
    if (count == 0U) {
        count = 64U;
    }

    tms = (sequence_info >> 8) & 0x01U;

    if ((sequence_info & JTAG_SEQUENCE_TDO) != 0U) {
        for (uint32_t i = 0; i < count; i++) {
            val = (i & 7U) ? (val >> 1) : *request++;
            PIN_SWDIO_TMS_SET();
            PIN_SWDIO_OUT(tms);
            PIN_TDI_OUT(val & 1U);
            JTAG_CLOCK_CYCLE();

            n = 7U - (i & 7U);
            if (n == 7U) {
                *response = 0U;
            }
            if (PIN_TDO_IN()) {
                *response |= (1U << n);
            }
            if (n == 0U) {
                response++;
            }
        }
    } else {
        val = 0U;
        n = 0U;
        for (uint32_t i = 0; i < count; i++) {
            if (n == 0U) {
                val = *request++;
                n = 8U;
            }
            PIN_SWDIO_TMS_SET();
            PIN_SWDIO_OUT(tms);
            PIN_TDI_OUT(val & 1U);
            JTAG_CLOCK_CYCLE();
            val >>= 1;
            n--;
        }
    }
}

uint8_t JTAG_Transfer(uint32_t request, uint32_t *data)
{
    (void)request;
    (void)data;
    return DAP_TRANSFER_OK;
}

uint8_t JTAG_WriteIR(uint32_t request, uint32_t *data)
{
    (void)request;
    (void)data;
    return DAP_TRANSFER_OK;
}

#endif /* DAP_JTAG */
```

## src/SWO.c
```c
#include "DAP_config.h"
#include "DAP.h"

#if ((SWO_UART != 0) || (SWO_MANCHESTER != 0))

#if (SWO_UART != 0)
void SWO_UART_Init(uint32_t baudrate)
{
    (void)baudrate;
}

void SWO_UART_Uninit(void)
{
}

uint32_t SWO_UART_GetBaudrate(void)
{
    return 0;
}

void SWO_UART_Control(uint32_t control)
{
    (void)control;
}

uint8_t swo_uart_in(void)
{
    return 0;
}

void swo_uart_out(uint8_t bit)
{
    (void)bit;
}
#endif

#if (SWO_MANCHESTER != 0)
void SWO_Manchester_Init(uint32_t baudrate)
{
    (void)baudrate;
}

void SWO_Manchester_Uninit(void)
{
}

uint32_t SWO_Manchester_GetBaudrate(void)
{
    return 0;
}

void SWO_Manchester_Control(uint32_t control)
{
    (void)control;
}

uint8_t swo_manchester_in(void)
{
    return 0;
}

void swo_manchester_out(uint8_t bit)
{
    (void)bit;
}
#endif

#endif /* SWO_UART || SWO_MANCHESTER */
```

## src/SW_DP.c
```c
#include "DAP_config.h"
#include "DAP.h"

#if (DAP_SWD != 0)

#define SW_CLOCK_CYCLE()                \
  PIN_SWCLK_TCK_CLR();                  \
  PIN_DELAY_SLOW(DAP_Data.clock_delay); \
  PIN_SWCLK_TCK_SET();                  \
  PIN_DELAY_SLOW(DAP_Data.clock_delay)

#define SW_WRITE_BIT(bit)               \
  PIN_SWDIO_OUT(bit);                   \
  PIN_SWCLK_TCK_CLR();                  \
  PIN_DELAY_SLOW(DAP_Data.clock_delay); \
  PIN_SWCLK_TCK_SET();                  \
  PIN_DELAY_SLOW(DAP_Data.clock_delay)

#define SW_READ_BIT(bit)                \
  PIN_SWCLK_TCK_CLR();                  \
  PIN_DELAY_SLOW(DAP_Data.clock_delay); \
  bit = PIN_SWDIO_IN();                 \
  PIN_SWCLK_TCK_SET();                  \
  PIN_DELAY_SLOW(DAP_Data.clock_delay)

void SWJ_Sequence(uint32_t count, const uint8_t *data)
{
    uint32_t val;
    uint32_t n;

    val = 0U;
    n = 0U;
    while (count--) {
        if (n == 0U) {
            val = *data++;
            n = 8U;
        }
        if (val & 1U) {
            PIN_SWDIO_TMS_SET();
        } else {
            PIN_SWDIO_TMS_CLR();
        }
        SW_CLOCK_CYCLE();
        val >>= 1;
        n--;
    }
}

void SWD_Sequence(uint32_t info, const uint8_t *request, uint8_t *response)
{
    uint32_t count;
    uint32_t val;
    uint32_t n;

    count = info & 0xFFU;
    if (count == 0U) {
        count = 64U;
    }

    if ((info & SWD_SEQUENCE_DIN) != 0U) {
        while (count--) {
            SW_READ_BIT(val);
            n = 7U - (count & 7U);
            if (n == 7U) {
                *response = 0U;
            }
            if (val) {
                *response |= (1U << n);
            }
            if (n == 0U) {
                response++;
            }
        }
    } else {
        val = 0U;
        n = 0U;
        while (count--) {
            if (n == 0U) {
                val = *request++;
                n = 8U;
            }
            SW_WRITE_BIT(val & 1U);
            val >>= 1;
            n--;
        }
    }
}

uint8_t SWD_Transfer(uint32_t request, uint32_t *data)
{
    uint32_t val;
    uint32_t parity;
    uint32_t resp;
    uint32_t retry;
    uint32_t ack;

    if (request == 0U) {
        return DAP_TRANSFER_INVALID;
    }

    retry = DAP_Data.transfer.retry_count;
    ack = 0U;

    do {
        if (DAP_TransferAbort) {
            return DAP_TRANSFER_ERROR;
        }

        PIN_SWDIO_OUT_ENABLE();

        SW_WRITE_BIT(0U);
        SW_WRITE_BIT(0U);
        SW_WRITE_BIT(0U);
        SW_WRITE_BIT(0U);
        SW_WRITE_BIT(0U);
        SW_WRITE_BIT(0U);
        SW_WRITE_BIT(0U);
        SW_WRITE_BIT(0U);

        SW_WRITE_BIT(0x81U & 0x01U);

        val = request;
        parity = 0U;
        for (uint32_t i = 0; i < 32; i++) {
            SW_WRITE_BIT(val & 1U);
            parity ^= (val & 1U);
            val >>= 1;
        }
        SW_WRITE_BIT(parity);

        SW_CLOCK_CYCLE();

        PIN_SWDIO_OUT_DISABLE();

        SW_CLOCK_CYCLE();

        SW_READ_BIT(resp);
        resp &= 0x01U;
        SW_READ_BIT(val);
        resp |= (val << 1);
        SW_READ_BIT(val);
        resp |= (val << 2);

        if (resp == 0x01U) {
            ack = DAP_TRANSFER_WAIT;
        } else if (resp == 0x02U) {
            ack = DAP_TRANSFER_FAULT;
        } else if (resp == 0x04U) {
            ack = DAP_TRANSFER_OK;
        } else {
            ack = DAP_TRANSFER_ERROR;
        }

        if (ack != DAP_TRANSFER_OK) {
            PIN_SWDIO_OUT_ENABLE();
            SW_WRITE_BIT(0U);
            SW_CLOCK_CYCLE();
            PIN_SWDIO_OUT_DISABLE();
        }

        if ((request & DAP_TRANSFER_RnW) && (ack == DAP_TRANSFER_OK)) {
            parity = 0U;
            val = 0U;
            for (uint32_t i = 0; i < 32; i++) {
                SW_READ_BIT(resp);
                val |= (resp << i);
                parity ^= resp;
            }
            SW_READ_BIT(resp);
            if ((resp & 1U) != parity) {
                ack = DAP_TRANSFER_ERROR;
            }
            if (data != NULL) {
                *data = val;
            }
        }

        PIN_SWDIO_OUT_ENABLE();
        SW_WRITE_BIT(0U);
        SW_CLOCK_CYCLE();
        SW_CLOCK_CYCLE();

        if (ack == DAP_TRANSFER_WAIT) {
            continue;
        }
        break;
    } while (retry-- && !DAP_TransferAbort);

    if (ack == DAP_TRANSFER_WAIT) {
        ack = DAP_TRANSFER_ERROR;
    }

    return (uint8_t)ack;
}

uint8_t SWD_TransferCheck(uint32_t request, uint32_t *data)
{
    uint32_t val;
    uint32_t mask;
    uint32_t retry;

    retry = DAP_Data.transfer.match_retry;
    val = *data;

    do {
        if (DAP_TransferAbort) {
            return DAP_TRANSFER_ERROR;
        }

        uint8_t ack = SWD_Transfer(request, data);
        if (ack != DAP_TRANSFER_OK) {
            return ack;
        }

        mask = DAP_Data.transfer.match_mask;
        if ((val & mask) == (*data & mask)) {
            return DAP_TRANSFER_OK;
        }

        request &= ~DAP_TRANSFER_RnW;
        request |= DAP_TRANSFER_MATCH_VALUE;
    } while (retry-- && !DAP_TransferAbort);

    return DAP_TRANSFER_MISMATCH;
}

#endif /* DAP_SWD */
```

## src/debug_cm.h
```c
#ifndef DEBUG_CM_H
#define DEBUG_CM_H

#define DBG_HCSR        0xE000EDF0
#define DBG_DSR         0xE000EDF4
#define DHCSR           0xE000EDF0
#define DCRSR           0xE000EDF4
#define DCRDR           0xE000EDF8
#define DEMCR           0xE000EDFC

/* DHCSR bits */
#define DBGKEY          (0xA05F << 16)
#define C_DEBUGEN       (1 << 0)
#define C_HALT          (1 << 1)
#define C_STEP          (1 << 2)
#define C_MASKINTS      (1 << 3)
#define S_HALT          (1 << 17)
#define S_REGRDY        (1 << 16)

/* DCRSR bits */
#define REGWnR          (1 << 16)

/* DEMCR bits */
#define VC_CORERESET    (1 << 0)

#define MAX_TIMEOUT     10000000

typedef struct {
    uint32_t r[16];
    uint32_t xpsr;
} DEBUG_STATE;

#endif
```

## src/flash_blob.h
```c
#ifndef FLASH_BLOB_H
#define FLASH_BLOB_H

#include <stdint.h>

typedef struct {
    uint32_t breakpoint;
    uint32_t static_base;
    uint32_t stack_pointer;
} program_syscall_t;

typedef struct {
    uint32_t start;
    uint32_t size;
} sector_info_t;

typedef struct {
    uint32_t init;
    uint32_t uninit;
    uint32_t erase_chip;
    uint32_t erase_sector;
    uint32_t program_page;
    uint32_t verify;
    program_syscall_t sys_s;
    uint32_t program_buffer;
    uint32_t algo_start;
    uint32_t algo_size;
    const uint32_t *algo_blob;
    uint32_t flash_algo_count;
} program_target_t;

typedef enum {
    FLASHALGO_RETURN_BOOL,
    FLASHALGO_RETURN_POINTER
} flash_algo_return_t;

#endif
```

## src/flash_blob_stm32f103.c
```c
#include "flash_blob.h"

static const uint32_t stm32f103_flash_algo[] = {
    0xE00ABE00, 0x062D780D, 0x24084068, 0xD3000040, 0x1E644058, 0x1C49D1FA,
    0x2A001E52, 0x4770D1F2, 0x4603b510, 0x4c442000, 0x48446020, 0x48446060,
    0x46206060, 0xf01069c0, 0xd1080f04, 0x5055f245, 0x60204c40, 0x60602006,
    0x70fff640, 0x200060a0, 0x4601bd10, 0x69004838, 0x0080f040, 0x61104a36,
    0x47702000, 0x69004834, 0x0004f040, 0x61084932, 0x69004608, 0x0040f040,
    0xe0036108, 0x20aaf64a, 0x60084930, 0x68c0482c, 0x0f01f010, 0x482ad1f6,
    0xf0206900, 0x49280004, 0x20006108, 0x46014770, 0x69004825, 0x0002f040,
    0x61104a23, 0x61414610, 0xf0406900, 0x61100040, 0xf64ae003, 0x4a2120aa,
    0x481d6010, 0xf01068c0, 0xd1f60f01, 0x6900481a, 0x0002f020, 0x61104a18,
    0x47702000, 0x4603b510, 0xf0201c48, 0xe0220101, 0x69004813, 0x0001f040,
    0x61204c11, 0x80188810, 0x480fbf00, 0xf01068c0, 0xd1fa0f01, 0x6900480c,
    0x0001f020, 0x61204c0a, 0x68c04620, 0x0f14f010, 0x4620d006, 0xf04068c0,
    0x60e00014, 0xbd102001, 0x1c921c9b, 0x29001e89, 0x2000d1da, 0x0000e7f7,
    0x40022000, 0x45670123, 0xcdef89ab, 0x40003000, 0x00000000
};

const program_target_t stm32f103_flash = {
    .init          = 0x20000021,
    .uninit        = 0x20000053,
    .erase_chip    = 0x20000065,
    .erase_sector  = 0x2000009f,
    .program_page  = 0x200000dd,
    .verify        = 0,
    .sys_s = {
        .breakpoint    = 0x20000001,
        .static_base   = 0x20000148,
        .stack_pointer = 0x20000800,
    },
    .program_buffer = 0x20000A00,
    .algo_start     = 0x20000000,
    .algo_size      = sizeof(stm32f103_flash_algo),
    .algo_blob      = stm32f103_flash_algo,
    .flash_algo_count = 1,
};
```
